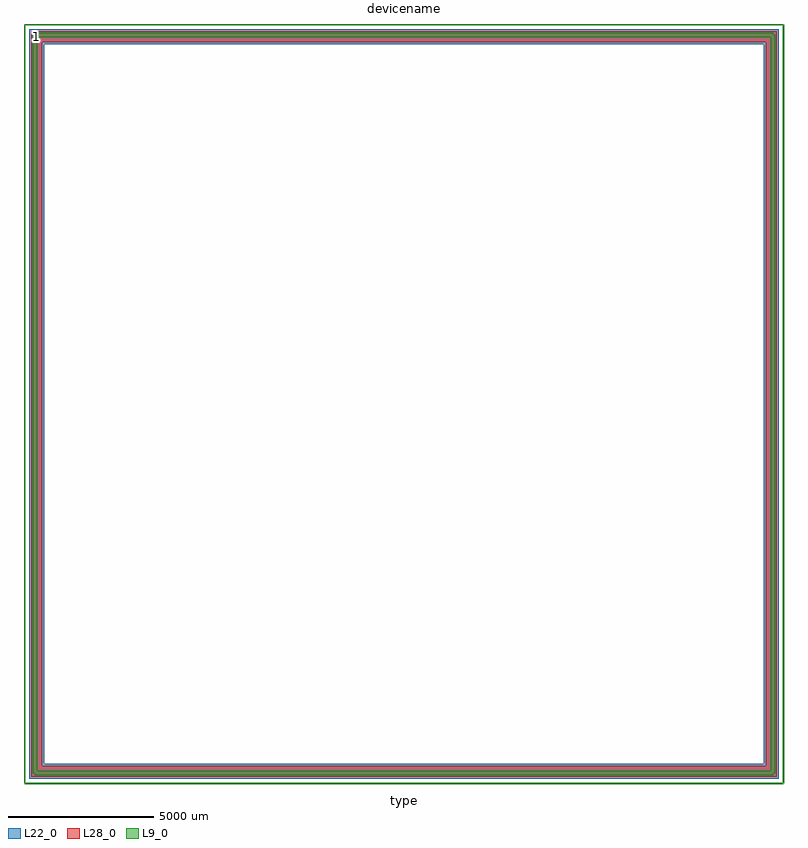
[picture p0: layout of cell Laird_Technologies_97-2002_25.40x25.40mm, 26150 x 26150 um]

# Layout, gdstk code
import gdstk
lib = gdstk.Library(unit=1e-6, precision=1e-09)
def R(c, l, rs):  # rectangles x0, y0, x1, y1
    for r in rs: c.add(gdstk.rectangle(r[:2], r[2:], *l))
L9_0 = (9, 0)
L22_0 = (22, 0)
L28_0 = (28, 0)

laird_technologies_97_20 = lib.new_cell('Laird_Technologies_97-2002_25.40x25.40mm')
R(laird_technologies_97_20, L22_0, [(-12900,-12900,-12370,-12370), (-12520,-12900,12520,-12370), (12370,-12900,12900,-12370), (-12900,-12520,-12370,12520), (12370,-12520,12900,12520), (-12900,12370,-12370,12900), (-12520,12370,12520,12900), (12370,12370,12900,12900)])
R(laird_technologies_97_20, L28_0, [(-12825,-12825,-12445,-12445), (-12445,-12825,12445,-12445), (12445,-12825,12825,-12445), (-12825,-12445,-12445,12445), (12445,-12445,12825,12445), (-12825,12445,-12445,12825), (-12445,12445,12445,12825), (12445,12445,12825,12825)])
laird_technologies_97_20.add(gdstk.FlexPath([(12700,12700),(-12700,12700)], 149.998, ends="flush", simple_path=True, layer=9, datatype=0))  # L9_0
laird_technologies_97_20.add(gdstk.FlexPath([(12700,-12700),(12700,12700)], 149.998, ends="flush", simple_path=True, layer=9, datatype=0))  # L9_0
laird_technologies_97_20.add(gdstk.FlexPath([(-12700,-12700),(12700,-12700)], 149.998, ends="flush", simple_path=True, layer=9, datatype=0))  # L9_0
laird_technologies_97_20.add(gdstk.FlexPath([(-12700,12700),(-12700,-12700)], 149.998, ends="flush", simple_path=True, layer=9, datatype=0))  # L9_0
laird_technologies_97_20.add(gdstk.FlexPath([(13050,13050),(-13050,13050)], 50, ends="flush", simple_path=True, layer=9, datatype=0))  # L9_0
laird_technologies_97_20.add(gdstk.FlexPath([(13050,-13050),(13050,13050)], 50, ends="flush", simple_path=True, layer=9, datatype=0))  # L9_0
laird_technologies_97_20.add(gdstk.FlexPath([(-13050,-13050),(13050,-13050)], 50, ends="flush", simple_path=True, layer=9, datatype=0))  # L9_0
laird_technologies_97_20.add(gdstk.FlexPath([(-13050,13050),(-13050,-13050)], 50, ends="flush", simple_path=True, layer=9, datatype=0))  # L9_0
laird_technologies_97_20.add(gdstk.Label('1', (-12635,12635), layer=28, texttype=0))
laird_technologies_97_20.add(gdstk.Label('type', (0,-13825), layer=9, texttype=0))
laird_technologies_97_20.add(gdstk.Label('devicename', (0,13825), layer=9, texttype=0))

lib.write_gds('Laird_Technologies_97-2002_25.40x25.40mm.gds')
